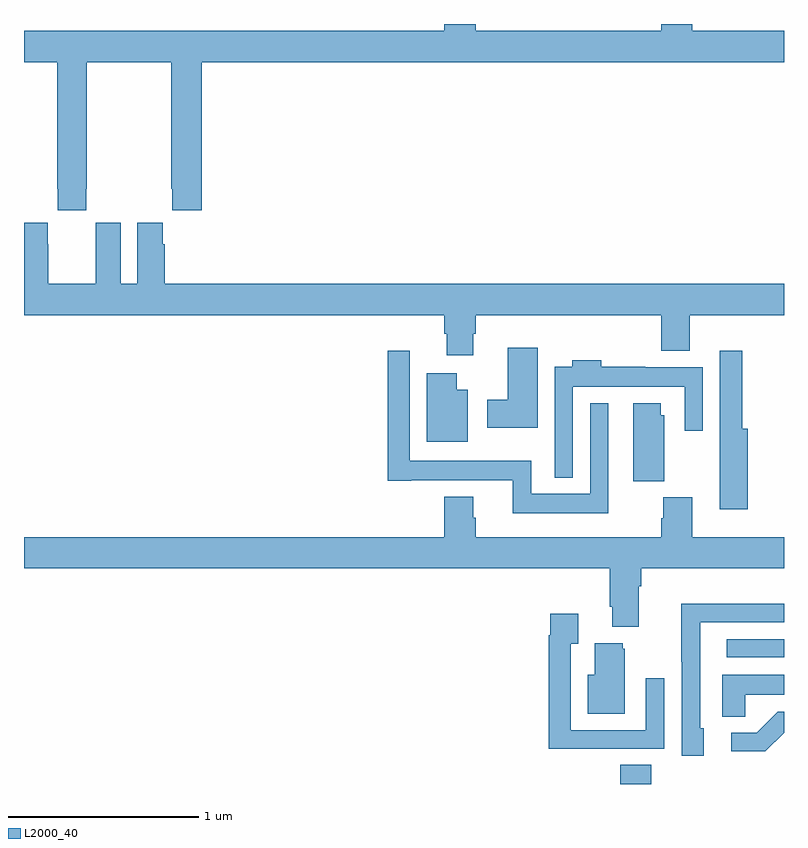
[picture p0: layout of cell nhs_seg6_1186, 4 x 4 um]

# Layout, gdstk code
import gdstk
lib = gdstk.Library(unit=1e-6, precision=1e-09)
def R(c, l, rs):  # rectangles x0, y0, x1, y1
    for r in rs: c.add(gdstk.rectangle(r[:2], r[2:], *l))
def P(c, l, *ps):  # polygons
    for p in ps: c.add(gdstk.Polygon(p, *l))
L2000_40 = (2000, 40)

nhs_seg6_1186 = lib.new_cell('nhs_seg6_1186')
R(nhs_seg6_1186, L2000_40, [(186.137,979.5,186.302,979.601), (186.699,980.166,187,980.262)])
P(nhs_seg6_1186, L2000_40, [(183.327,982.633),(183.33,982.633),(183.33,983.3),(183.775,983.3),(183.775,982.633),(183.781,982.633),(183.781,982.521),(183.935,982.521),(183.935,983.3),(187,983.3),(187,983.464),(186.518,983.464),(186.518,983.5),(186.353,983.5),(186.353,983.464),(185.378,983.464),(185.378,983.5),(185.213,983.5),(185.213,983.464),(183,983.464),(183,983.3),(183.175,983.3),(183.175,982.633),(183.177,982.633),(183.177,982.521),(183.327,982.521)],
  [(185.365,981.87),(185.378,981.87),(185.378,981.968),(186.353,981.968),(186.353,981.779),(186.505,981.779),(186.505,981.968),(187,981.968),(187,982.132),(183.74,982.132),(183.74,982.34),(183.73,982.34),(183.73,982.453),(183.596,982.453),(183.596,982.132),(183.508,982.132),(183.508,982.453),(183.378,982.453),(183.378,982.34),(183.377,982.34),(183.377,982.132),(183.127,982.132),(183.127,982.34),(183.126,982.34),(183.126,982.453),(183,982.453),(183,981.968),(185.213,981.968),(185.213,981.87),(185.225,981.87),(185.225,981.756),(185.365,981.756)],
  [(185.704,981.796),(185.546,981.796),(185.546,981.522),(185.439,981.522),(185.439,981.374),(185.704,981.374)],
  [(186.809,981.37),(186.779,981.37),(186.779,981.781),(186.663,981.781),(186.663,981.266),(186.662,981.266),(186.662,980.946),(186.809,980.946)],
  [(186.076,981.505),(185.979,981.505),(185.979,981.028),(185.67,981.028),(185.67,981.202),(185.031,981.202),(185.031,981.781),(184.915,981.781),(184.915,981.096),(185.038,981.096),(185.038,981.098),(185.573,981.098),(185.573,980.924),(186.076,980.924)],
  [(185.889,981.59),(186.477,981.59),(186.477,981.36),(186.573,981.36),(186.573,981.694),(186.269,981.694),(186.269,981.697),(186.038,981.697),(186.038,981.73),(185.885,981.73),(185.885,981.697),(185.793,981.697),(185.793,981.113),(185.889,981.113)],
  [(185.335,981.574),(185.278,981.574),(185.278,981.661),(185.12,981.661),(185.12,981.302),(185.335,981.302)],
  [(186.37,981.441),(186.352,981.441),(186.352,981.505),(186.206,981.505),(186.206,981.094),(186.37,981.094)],
  [(187,980.8),(186.518,980.8),(186.518,981.009),(186.365,981.009),(186.365,980.9),(186.353,980.9),(186.353,980.8),(185.378,980.8),(185.378,980.901),(185.365,980.901),(185.365,981.013),(185.213,981.013),(185.213,980.8),(183,980.8),(183,980.636),(186.083,980.636),(186.083,980.434),(186.095,980.434),(186.095,980.327),(186.235,980.327),(186.235,980.54),(186.248,980.54),(186.248,980.636),(187,980.636)],
  [(186.577,979.794),(186.558,979.794),(186.558,980.352),(187,980.352),(187,980.448),(186.923,980.448),(186.923,980.45),(186.46,980.45),(186.46,980.143),(186.462,980.143),(186.462,979.65),(186.577,979.65)],
  [(186.053,979.686),(186.369,979.686),(186.369,980.056),(186.273,980.056),(186.273,979.782),(185.877,979.782),(185.877,980.239),(185.917,980.239),(185.917,980.395),(185.769,980.395),(185.769,980.282),(185.761,980.282),(185.761,979.685),(186.053,979.685)],
  [(186.163,980.211),(186.152,980.211),(186.152,980.242),(186.005,980.242),(186.005,980.074),(185.966,980.074),(185.966,979.871),(186.163,979.871)],
  [(186.795,979.97),(187,979.97),(187,980.074),(186.674,980.074),(186.674,979.855),(186.795,979.855)],
  [(187,979.771),(187,979.881),(186.968,979.881),(186.857,979.77),(186.723,979.77),(186.723,979.673),(186.901,979.673)])

lib.write_gds('nhs_seg6_1186.gds')
